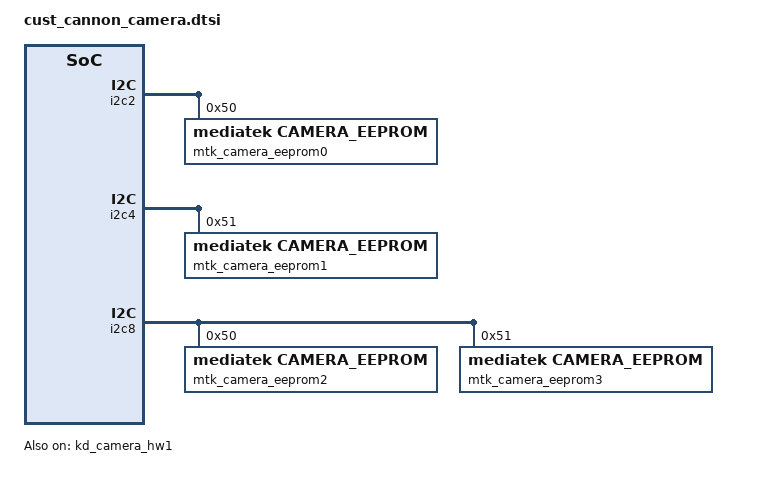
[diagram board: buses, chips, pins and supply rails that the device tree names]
/*
 * Copyright (c) 2019 MediaTek Inc.
 * Copyright (C) 2021 XiaoMi, Inc.
 *
 * This program is free software; you can redistribute it and/or modify
 * it under the terms of the GNU General Public License version 2 as
 * published by the Free Software Foundation.
 *
 * This program is distributed in the hope that it will be useful,
 * but WITHOUT ANY WARRANTY; without even the implied warranty of
 * MERCHANTABILITY or FITNESS FOR A PARTICULAR PURPOSE.  See the
 * GNU General Public License for more details.
 */
/* CAMERA GPIO standardization */
&pio {
        camera_pins_cam0_rst_0: cam0@0 {
                pins_cmd_dat {
                        pinmux = <PINMUX_GPIO54__FUNC_GPIO54>;
                        slew-rate = <1>;
                        output-low;
                };
        };
        camera_pins_cam0_rst_1: cam0@1 {
                pins_cmd_dat {
                        pinmux = <PINMUX_GPIO54__FUNC_GPIO54>;
                        slew-rate = <1>;
                        output-high;
                };
        };
        camera_pins_cam0_pnd_0: cam0@2 {
                pins_cmd_dat {
                        pinmux = <PINMUX_GPIO55__FUNC_GPIO55>;
                        slew-rate = <1>;
                        output-low;
                };
        };
        camera_pins_cam0_pnd_1: cam0@3 {
                pins_cmd_dat {
                        pinmux = <PINMUX_GPIO55__FUNC_GPIO55>;
                        slew-rate = <1>;
                        output-high;
                };
        };
        camera_pins_cam1_rst_0: cam1@0 {
                pins_cmd_dat {
                        pinmux = <PINMUX_GPIO60__FUNC_GPIO60>;
                        slew-rate = <1>;
                        output-low;
                };
        };
        camera_pins_cam1_rst_1: cam1@1 {
                pins_cmd_dat {
                        pinmux = <PINMUX_GPIO60__FUNC_GPIO60>;
                        slew-rate = <1>;
                        output-high;
                };
        };
        camera_pins_cam1_pnd_0: cam1@2 {
                pins_cmd_dat {
                        pinmux = <PINMUX_GPIO60__FUNC_GPIO60>;
                        slew-rate = <1>;
                        output-low;
                };
        };
        camera_pins_cam1_pnd_1: cam1@3 {
                pins_cmd_dat {
                        pinmux = <PINMUX_GPIO60__FUNC_GPIO60>;
                        slew-rate = <1>;
                        output-high;
                };
        };
        camera_pins_cam2_rst_0: cam2@0 {
                pins_cmd_dat {
                        pinmux = <PINMUX_GPIO56__FUNC_GPIO56>;
                        slew-rate = <1>;
                        output-low;
                };
        };
        camera_pins_cam2_rst_1: cam2@1 {
                pins_cmd_dat {
                        pinmux = <PINMUX_GPIO56__FUNC_GPIO56>;
                        slew-rate = <1>;
                        output-high;
                };
        };
        camera_pins_cam2_pnd_0: cam2@2 {
                pins_cmd_dat {
                        pinmux = <PINMUX_GPIO56__FUNC_GPIO56>;
                        slew-rate = <1>;
                        output-low;
                };
        };
        camera_pins_cam2_pnd_1: cam2@3 {
                pins_cmd_dat {
                        pinmux = <PINMUX_GPIO56__FUNC_GPIO56>;
                        slew-rate = <1>;
                        output-high;
                };
        };
        camera_pins_cam2_vcamd_0: cam2@4 {
                pins_cmd_dat {
                        pinmux = <PINMUX_GPIO82__FUNC_GPIO82>;
                        slew-rate = <1>;
                        output-low;
                };
        };
        camera_pins_cam2_vcamd_1: cam2@5 {
                pins_cmd_dat {
                        pinmux = <PINMUX_GPIO82__FUNC_GPIO82>;
                        slew-rate = <1>;
                        output-high;
                };
        };
        camera_pins_cam3_rst_0: cam3@0 {
                pins_cmd_dat {
                        pinmux = <PINMUX_GPIO58__FUNC_GPIO58>;
                        slew-rate = <1>;
                        output-low;
                };
        };
        camera_pins_cam3_rst_1: cam3@1 {
                pins_cmd_dat {
                        pinmux = <PINMUX_GPIO58__FUNC_GPIO58>;
                        slew-rate = <1>;
                        output-high;
                };
        };
        camera_pins_cam3_pnd_0: cam3@2 {
                pins_cmd_dat {
                        pinmux = <PINMUX_GPIO58__FUNC_GPIO58>;
                        slew-rate = <1>;
                        output-low;
                };
        };
        camera_pins_cam3_pnd_1: cam3@3 {
                pins_cmd_dat {
                        pinmux = <PINMUX_GPIO58__FUNC_GPIO58>;
                        slew-rate = <1>;
                        output-high;
                };
        };
        camera_pins_cam3_vcamd_0: cam3@4 {
                pins_cmd_dat {
                        pinmux = <PINMUX_GPIO82__FUNC_GPIO82>;
                        slew-rate = <1>;
                        output-low;
                };
        };
        camera_pins_cam3_vcamd_1: cam3@5 {
                pins_cmd_dat {
                        pinmux = <PINMUX_GPIO82__FUNC_GPIO82>;
                        slew-rate = <1>;
                        output-high;
                };
        };
        camera_pins_cam0_mclk_off: camera_pins_cam0_mclk_off {
                pins_cmd_dat {
                        pinmux = <PINMUX_GPIO52__FUNC_GPIO52>;
                        drive-strength = <1>;
                };
        };
        camera_pins_cam0_mclk_2ma: camera_pins_cam0_mclk_2ma {
                pins_cmd_dat {
                        pinmux = <PINMUX_GPIO52__FUNC_CMMCLK3>;
                        drive-strength = <0>;
                };
        };
        camera_pins_cam0_mclk_4ma: camera_pins_cam0_mclk_4ma {
                pins_cmd_dat {
                        pinmux = <PINMUX_GPIO52__FUNC_CMMCLK3>;
                        drive-strength = <1>;
                };
        };
        camera_pins_cam0_mclk_6ma: camera_pins_cam0_mclk_6ma {
                pins_cmd_dat {
                        pinmux = <PINMUX_GPIO52__FUNC_CMMCLK3>;
                        drive-strength = <2>;
                };
        };
        camera_pins_cam0_mclk_8ma: camera_pins_cam0_mclk_8ma {
                pins_cmd_dat {
                        pinmux = <PINMUX_GPIO52__FUNC_CMMCLK3>;
                        drive-strength = <3>;
                };
        };
        camera_pins_cam1_mclk_off: camera_pins_cam1_mclk_off {
                pins_cmd_dat {
                        pinmux = <PINMUX_GPIO50__FUNC_GPIO50>;
                        drive-strength = <1>;
                };
        };
        camera_pins_cam1_mclk_2ma: camera_pins_cam1_mclk_2ma {
                pins_cmd_dat {
                        pinmux = <PINMUX_GPIO50__FUNC_CMMCLK1>;
                        drive-strength = <0>;
                };
        };
        camera_pins_cam1_mclk_4ma: camera_pins_cam1_mclk_4ma {
                pins_cmd_dat {
                        pinmux = <PINMUX_GPIO50__FUNC_CMMCLK1>;
                        drive-strength = <1>;
                };
        };
        camera_pins_cam1_mclk_6ma: camera_pins_cam1_mclk_6ma {
                pins_cmd_dat {
                        pinmux = <PINMUX_GPIO50__FUNC_CMMCLK1>;
                        drive-strength = <2>;
                };
        };
        camera_pins_cam1_mclk_8ma: camera_pins_cam1_mclk_8ma {
                pins_cmd_dat {
                        pinmux = <PINMUX_GPIO50__FUNC_CMMCLK1>;
                        drive-strength = <3>;
                };
        };
        camera_pins_cam2_mclk_off: camera_pins_cam2_mclk_off {
                pins_cmd_dat {
                        pinmux = <PINMUX_GPIO51__FUNC_GPIO51>;
                        drive-strength = <1>;
                };
        };
        camera_pins_cam2_mclk_2ma: camera_pins_cam2_mclk_2ma {
                pins_cmd_dat {
                        pinmux = <PINMUX_GPIO51__FUNC_CMMCLK2>;
                        drive-strength = <0>;
                };
        };
        camera_pins_cam2_mclk_4ma: camera_pins_cam2_mclk_4ma {
                pins_cmd_dat {
                        pinmux = <PINMUX_GPIO51__FUNC_CMMCLK2>;
                        drive-strength = <1>;
                };
        };
        camera_pins_cam2_mclk_6ma: camera_pins_cam2_mclk_6ma {
                pins_cmd_dat {
                        pinmux = <PINMUX_GPIO51__FUNC_CMMCLK2>;
                        drive-strength = <2>;
                };
        };
        camera_pins_cam2_mclk_8ma: camera_pins_cam2_mclk_8ma {
                pins_cmd_dat {
                        pinmux = <PINMUX_GPIO51__FUNC_CMMCLK2>;
                        drive-strength = <3>;
                };
        };
        camera_pins_cam3_mclk_off: camera_pins_cam3_mclk_off {
                pins_cmd_dat {
                        pinmux = <PINMUX_GPIO49__FUNC_GPIO49>;
                        drive-strength = <1>;
                };
        };
        camera_pins_cam3_mclk_2ma: camera_pins_cam3_mclk_2ma {
                pins_cmd_dat {
                        pinmux = <PINMUX_GPIO49__FUNC_CMMCLK0>;
                        drive-strength = <0>;
                };
        };
        camera_pins_cam3_mclk_4ma: camera_pins_cam3_mclk_4ma {
                pins_cmd_dat {
                        pinmux = <PINMUX_GPIO49__FUNC_CMMCLK0>;
                        drive-strength = <1>;
                };
        };
        camera_pins_cam3_mclk_6ma: camera_pins_cam3_mclk_6ma {
                pins_cmd_dat {
                        pinmux = <PINMUX_GPIO49__FUNC_CMMCLK0>;
                        drive-strength = <2>;
                };
        };
        camera_pins_cam3_mclk_8ma: camera_pins_cam3_mclk_8ma {
                pins_cmd_dat {
                        pinmux = <PINMUX_GPIO49__FUNC_CMMCLK0>;
                        drive-strength = <3>;
                };
        };
        camera_pins_default: camdefault {
        };
};
&kd_camera_hw1 {
        pinctrl-names = "default",
                        "cam0_rst0", "cam0_rst1",
                        "cam0_pnd0", "cam0_pnd1",
                        "cam1_rst0", "cam1_rst1",
                        "cam1_pnd0", "cam1_pnd1",
                        "cam2_rst0", "cam2_rst1",
                        "cam2_pnd0", "cam2_pnd1",
                        "cam3_rst0", "cam3_rst1",
                        "cam3_pnd0", "cam3_pnd1",
                        "cam3_ldo_vcamd_0", "cam3_ldo_vcamd_1",
                        "cam0_mclk_off",
                        "cam0_mclk_2mA", "cam0_mclk_4mA",
                        "cam0_mclk_6mA", "cam0_mclk_8mA",
                        "cam1_mclk_off",
                        "cam1_mclk_2mA", "cam1_mclk_4mA",
                        "cam1_mclk_6mA", "cam1_mclk_8mA",
                        "cam2_mclk_off",
                        "cam2_mclk_2mA", "cam2_mclk_4mA",
                        "cam2_mclk_6mA", "cam2_mclk_8mA",
                        "cam3_mclk_off",
                        "cam3_mclk_2mA", "cam3_mclk_4mA",
                        "cam3_mclk_6mA", "cam3_mclk_8mA",
                        "cam2_ldo_vcamd_0", "cam2_ldo_vcamd_1";
        pinctrl-0 = <&camera_pins_default>;
        pinctrl-1 = <&camera_pins_cam0_rst_0>;
        pinctrl-2 = <&camera_pins_cam0_rst_1>;
        pinctrl-3 = <&camera_pins_cam0_pnd_0>;
        pinctrl-4 = <&camera_pins_cam0_pnd_1>;
        pinctrl-5 = <&camera_pins_cam1_rst_0>;
        pinctrl-6 = <&camera_pins_cam1_rst_1>;
        pinctrl-7 = <&camera_pins_cam1_pnd_0>;
        pinctrl-8 = <&camera_pins_cam1_pnd_1>;
        pinctrl-9 = <&camera_pins_cam2_rst_0>;
        pinctrl-10 = <&camera_pins_cam2_rst_1>;
        pinctrl-11 = <&camera_pins_cam2_pnd_0>;
        pinctrl-12 = <&camera_pins_cam2_pnd_1>;
        pinctrl-13 = <&camera_pins_cam3_rst_0>;
        pinctrl-14 = <&camera_pins_cam3_rst_1>;
        pinctrl-15 = <&camera_pins_cam3_pnd_0>;
        pinctrl-16 = <&camera_pins_cam3_pnd_1>;
        pinctrl-17 = <&camera_pins_cam3_vcamd_0>;
        pinctrl-18 = <&camera_pins_cam3_vcamd_1>;
        pinctrl-19 = <&camera_pins_cam0_mclk_off>;
        pinctrl-20 = <&camera_pins_cam0_mclk_2ma>;
        pinctrl-21 = <&camera_pins_cam0_mclk_4ma>;
        pinctrl-22 = <&camera_pins_cam0_mclk_6ma>;
        pinctrl-23 = <&camera_pins_cam0_mclk_8ma>;
        pinctrl-24 = <&camera_pins_cam1_mclk_off>;
        pinctrl-25 = <&camera_pins_cam1_mclk_2ma>;
        pinctrl-26 = <&camera_pins_cam1_mclk_4ma>;
        pinctrl-27 = <&camera_pins_cam1_mclk_6ma>;
        pinctrl-28 = <&camera_pins_cam1_mclk_8ma>;
        pinctrl-29 = <&camera_pins_cam2_mclk_off>;
        pinctrl-30 = <&camera_pins_cam2_mclk_2ma>;
        pinctrl-31 = <&camera_pins_cam2_mclk_4ma>;
        pinctrl-32 = <&camera_pins_cam2_mclk_6ma>;
        pinctrl-33 = <&camera_pins_cam2_mclk_8ma>;
        pinctrl-34 = <&camera_pins_cam3_mclk_off>;
        pinctrl-35 = <&camera_pins_cam3_mclk_2ma>;
        pinctrl-36 = <&camera_pins_cam3_mclk_4ma>;
        pinctrl-37 = <&camera_pins_cam3_mclk_6ma>;
        pinctrl-38 = <&camera_pins_cam3_mclk_8ma>;
        pinctrl-39 = <&camera_pins_cam2_vcamd_0>;
        pinctrl-40 = <&camera_pins_cam2_vcamd_1>;

        cam0_vcama-supply = <&fan53870_l3>;
        cam0_vcamd-supply = <&fan53870_l2>;
        cam0_vcamio-supply = <&mt_pmic_vcamio_ldo_reg>;
        cam0_vcamaf-supply = <&fan53870_l7>;
        cam1_vcama-supply = <&fan53870_l5>;
        cam1_vcamd-supply = <&fan53870_l1>;
        cam1_vcamio-supply = <&mt_pmic_vcamio_ldo_reg>;
        cam2_vcama-supply = <&fan53870_l6>;
        cam2_vcamio-supply = <&mt_pmic_vcamio_ldo_reg>;
        cam3_vcama-supply = <&fan53870_l4>;
        cam3_vcamio-supply = <&mt_pmic_vcamio_ldo_reg>;

        cam0_vcamap-supply = <&PM8008_L3P>;
        cam0_vcamdp-supply = <&PM8008_L2P>;
        cam0_vcamiop-supply = <&mt_pmic_vcamio_ldo_reg>;
        cam0_vcamafp-supply = <&PM8008_L7P>;
        cam1_vcamap-supply = <&PM8008_L5P>;
        cam1_vcamdp-supply = <&PM8008_L1P>;
        cam1_vcamiop-supply = <&mt_pmic_vcamio_ldo_reg>;
        cam2_vcamap-supply = <&PM8008_L6P>;
        cam2_vcamiop-supply = <&mt_pmic_vcamio_ldo_reg>;
        cam3_vcamap-supply = <&PM8008_L4P>;
        cam3_vcamiop-supply = <&mt_pmic_vcamio_ldo_reg>;

        cam0_enable_sensor="s5kgm1stofilm_mipi_raw";
        cam1_enable_sensor="s5k3l6ofilm_mipi_raw";
        cam2_enable_sensor="ov02b10ofilm_mipi_raw ov8856ofilm_mipi_raw";
        cam3_enable_sensor="hi259ofilm_mipi_raw";
        status = "okay";
};

/* CAMERA GPIO end */

/* CAMERA EEPROM */
&i2c2 {
        mtk_camera_eeprom0:camera_eeprom0@50 {
                compatible = "mediatek,camera_eeprom";
                reg = <0x50>;
                status = "okay";
        };
};
&i2c4 {
        mtk_camera_eeprom1:camera_eeprom1@51 {
                compatible = "mediatek,camera_eeprom";
                reg = <0x51>;
                status = "okay";
        };
};
&i2c8 {
        mtk_camera_eeprom2:camera_eeprom2@50 {
                compatible = "mediatek,camera_eeprom";
                reg = <0x50>;
                status = "okay";
        };
};
&i2c8 {
        mtk_camera_eeprom3:camera_eeprom3@51 {
                compatible = "mediatek,camera_eeprom";
                reg = <0x51>;
                status = "okay";
        };
};
/* CAMERA EEPROM end */
